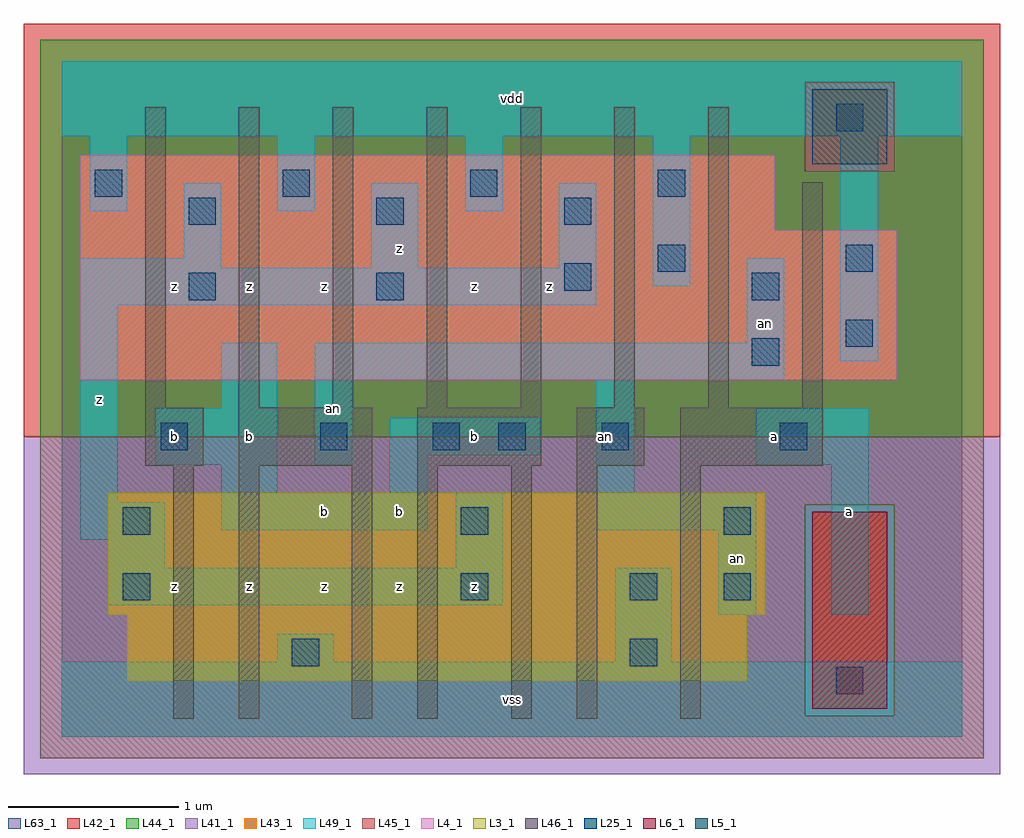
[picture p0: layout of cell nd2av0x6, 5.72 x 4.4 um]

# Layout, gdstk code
import gdstk
lib = gdstk.Library(unit=1e-6, precision=1e-09)
def R(c, l, rs):  # rectangles x0, y0, x1, y1
    for r in rs: c.add(gdstk.rectangle(r[:2], r[2:], *l))
def A(c, l, x, y, w, h, nx, ny, dx, dy):  # array of equal rectangles
    R(c, l, [(x+i*dx, y+j*dy, x+i*dx+w, y+j*dy+h) for i in range(nx) for j in range(ny)])
L3_1 = (3, 1)
L4_1 = (4, 1)
L5_1 = (5, 1)
L6_1 = (6, 1)
L25_1 = (25, 1)
L41_1 = (41, 1)
L42_1 = (42, 1)
L43_1 = (43, 1)
L44_1 = (44, 1)
L45_1 = (45, 1)
L46_1 = (46, 1)
L49_1 = (49, 1)
L63_1 = (63, 1)

nd2av0x6 = lib.new_cell('nd2av0x6')
R(nd2av0x6, L3_1, [(0.385,0.33,4.015,0.715), (0.275,0.715,4.125,1.43)])
R(nd2av0x6, L4_1, [(0.11,2.09,4.895,2.97), (0.11,2.97,4.18,3.41)])
R(nd2av0x6, L5_1, [(4.4,3.355,4.84,3.795)])
R(nd2av0x6, L6_1, [(4.4,0.165,4.84,1.32)])
A(nd2av0x6, L25_1, 0.745, 3, 0.16, 0.16, 3, 1, 1.1, 0)
A(nd2av0x6, L25_1, 0.195, 3.165, 0.16, 0.16, 4, 1, 1.1, 0)
R(nd2av0x6, L25_1, [(4.54,0.25,4.7,0.41), (1.35,0.415,1.51,0.575), (3.33,0.415,3.49,0.575), (0.36,0.8,0.52,0.96), (2.34,0.8,2.5,0.96), (3.33,0.8,3.49,0.96), (3.88,0.8,4.04,0.96), (0.36,1.185,0.52,1.345), (2.34,1.185,2.5,1.345), (3.88,1.185,4.04,1.345), (0.58,1.68,0.74,1.84), (1.515,1.68,1.675,1.84), (2.175,1.68,2.335,1.84), (2.56,1.68,2.72,1.84), (3.165,1.68,3.325,1.84), (4.21,1.68,4.37,1.84), (4.045,2.175,4.205,2.335), (4.595,2.285,4.755,2.445), (0.745,2.56,0.905,2.72), (1.845,2.56,2.005,2.72), (4.045,2.56,4.205,2.72), (2.945,2.615,3.105,2.775), (3.495,2.725,3.655,2.885), (4.595,2.725,4.755,2.885), (4.54,3.55,4.7,3.71)])
R(nd2av0x6, L41_1, [(-0.22,-0.22,5.5,1.76)])
R(nd2av0x6, L42_1, [(-0.22,1.76,5.5,4.18)])
R(nd2av0x6, L43_1, [(4.4,0.165,4.84,1.32), (0.385,0.33,4.015,0.715), (0.275,0.715,4.125,1.43), (0.11,2.09,4.895,2.97), (0.11,2.97,4.18,3.41), (4.4,3.355,4.84,3.795)])
R(nd2av0x6, L44_1, [(4.36,0.125,4.88,1.36), (-0.125,1.76,5.405,3.315), (-0.125,3.315,4.36,3.835), (4.88,3.315,5.405,3.835), (-0.125,3.835,5.405,4.085)])
R(nd2av0x6, L45_1, [(-0.125,-0.125,5.405,0.125), (-0.125,0.125,4.36,1.36), (4.88,0.125,5.405,1.36), (-0.125,1.36,5.405,1.76), (4.36,3.315,4.88,3.835)])
A(nd2av0x6, L46_1, 0.49, 1.93, 0.12, 1.76, 7, 1, 0.55, 0)
R(nd2av0x6, L46_1, [(0.655,0.105,0.775,1.59), (1.04,0.105,1.16,1.59), (1.7,0.105,1.82,1.59), (2.085,0.105,2.205,1.59), (2.635,0.105,2.755,1.59), (3.02,0.105,3.14,1.59), (3.625,0.105,3.745,1.59), (0.49,1.59,0.83,1.93), (1.04,1.59,1.82,1.93), (2.085,1.59,2.81,1.93), (3.02,1.59,3.415,1.93), (3.625,1.59,4.46,1.93), (4.34,1.93,4.46,3.25)])
A(nd2av0x6, L49_1, 0.165, 3.08, 0.22, 0.44, 3, 1, 1.1, 0)
R(nd2av0x6, L49_1, [(0,0,5.28,0.44), (1.265,0.44,1.595,0.605), (3.245,0.44,3.575,0.99), (3.85,0.715,4.07,1.21), (4.51,0.715,4.73,1.595), (0.275,0.77,2.585,0.99), (0.275,0.99,0.605,1.155), (2.31,0.99,2.585,1.43), (0.11,1.155,0.605,1.375), (0.935,1.21,2.145,1.43), (3.135,1.21,4.07,1.43), (0.11,1.375,0.33,2.53), (0.935,1.43,1.265,1.595), (1.925,1.43,2.145,1.65), (3.135,1.43,3.355,2.09), (0.55,1.595,1.265,1.925), (1.485,1.595,1.705,2.09), (4.07,1.595,4.73,1.925), (1.925,1.65,2.805,1.87), (0.935,1.925,1.265,2.31), (1.485,2.09,4.235,2.31), (4.565,2.2,4.785,3.52), (4.015,2.31,4.235,2.805), (0.11,2.53,3.135,2.75), (3.465,2.64,3.685,3.52), (0.11,2.75,0.935,2.805), (1.815,2.75,2.09,3.245), (2.915,2.75,3.135,3.245), (0.715,2.805,0.935,3.245), (0,3.52,5.28,3.96)])
R(nd2av0x6, L63_1, [(0,0,5.28,3.96)])
nd2av0x6.add(gdstk.Label('an', (3.19,1.76), layer=49, texttype=1))
nd2av0x6.add(gdstk.Label('z', (0.66,0.88), layer=49, texttype=1))
nd2av0x6.add(gdstk.Label('b', (0.66,1.76), layer=49, texttype=1))
nd2av0x6.add(gdstk.Label('z', (0.22,1.98), layer=49, texttype=1))
nd2av0x6.add(gdstk.Label('z', (0.66,2.64), layer=49, texttype=1))
nd2av0x6.add(gdstk.Label('z', (1.54,0.88), layer=49, texttype=1))
nd2av0x6.add(gdstk.Label('z', (1.1,0.88), layer=49, texttype=1))
nd2av0x6.add(gdstk.Label('b', (1.54,1.32), layer=49, texttype=1))
nd2av0x6.add(gdstk.Label('an', (1.595,1.925), layer=49, texttype=1))
nd2av0x6.add(gdstk.Label('b', (1.1,1.76), layer=49, texttype=1))
nd2av0x6.add(gdstk.Label('z', (1.1,2.64), layer=49, texttype=1))
nd2av0x6.add(gdstk.Label('z', (1.54,2.64), layer=49, texttype=1))
nd2av0x6.add(gdstk.Label('vss', (2.64,0.22), layer=49, texttype=1))
nd2av0x6.add(gdstk.Label('z', (2.42,0.88), layer=49, texttype=1))
nd2av0x6.add(gdstk.Label('z', (1.98,0.88), layer=49, texttype=1))
nd2av0x6.add(gdstk.Label('b', (1.98,1.32), layer=49, texttype=1))
nd2av0x6.add(gdstk.Label('b', (2.42,1.76), layer=49, texttype=1))
nd2av0x6.add(gdstk.Label('z', (1.98,2.86), layer=49, texttype=1))
nd2av0x6.add(gdstk.Label('z', (2.42,2.64), layer=49, texttype=1))
nd2av0x6.add(gdstk.Label('z', (2.86,2.64), layer=49, texttype=1))
nd2av0x6.add(gdstk.Label('vdd', (2.64,3.74), layer=49, texttype=1))
nd2av0x6.add(gdstk.Label('an', (3.96,1.045), layer=49, texttype=1))
nd2av0x6.add(gdstk.Label('a', (4.18,1.76), layer=49, texttype=1))
nd2av0x6.add(gdstk.Label('an', (3.245,1.76), layer=49, texttype=1))
nd2av0x6.add(gdstk.Label('an', (4.125,2.42), layer=49, texttype=1))
nd2av0x6.add(gdstk.Label('a', (4.62,1.32), layer=49, texttype=1))

lib.write_gds('nd2av0x6.gds')
